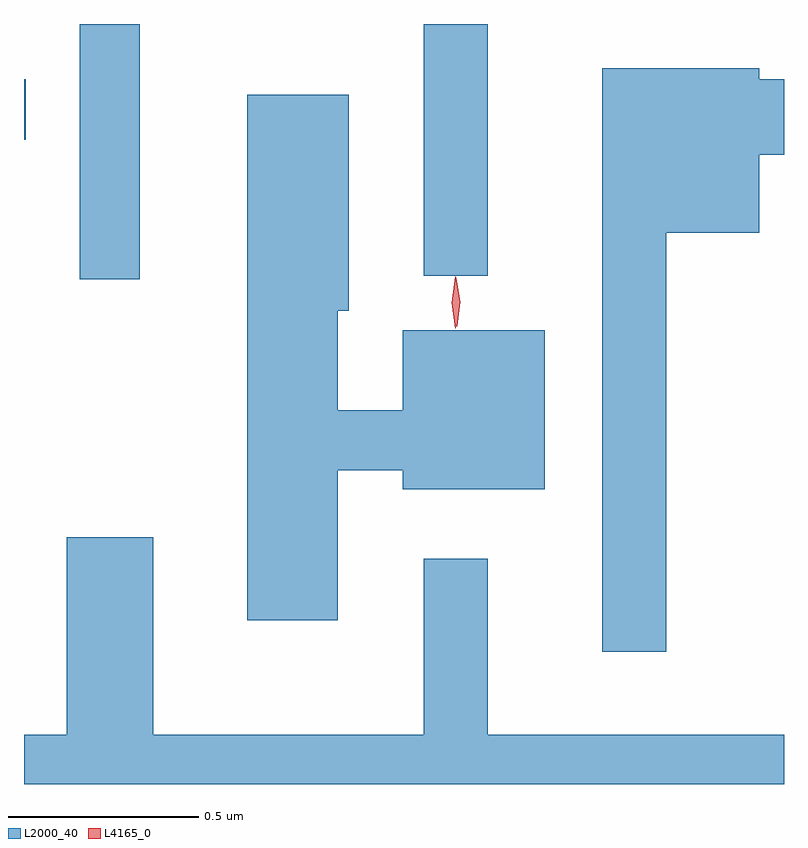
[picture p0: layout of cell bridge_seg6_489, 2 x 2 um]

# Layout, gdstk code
import gdstk
lib = gdstk.Library(unit=1e-6, precision=1e-09)
def R(c, l, rs):  # rectangles x0, y0, x1, y1
    for r in rs: c.add(gdstk.rectangle(r[:2], r[2:], *l))
def P(c, l, *ps):  # polygons
    for p in ps: c.add(gdstk.Polygon(p, *l))
L2000_40 = (2000, 40)
L4165_0 = (4165, 0)

bridge_seg6_489 = lib.new_cell('bridge_seg6_489')
R(bridge_seg6_489, L2000_40, [(671.766,1531.523,671.924,1532.195), (672.671,1531.533,672.839,1532.195), (671.619,1531.891,671.623,1532.049)])
P(bridge_seg6_489, L2000_40, [(673.309,1531.646),(673.554,1531.646),(673.554,1531.851),(673.619,1531.851),(673.619,1532.049),(673.554,1532.049),(673.554,1532.079),(673.141,1532.079),(673.141,1530.543),(673.309,1530.543)],
  [(672.444,1531.021),(672.616,1531.021),(672.616,1530.971),(672.989,1530.971),(672.989,1531.389),(672.616,1531.389),(672.616,1531.179),(672.444,1531.179),(672.444,1531.441),(672.474,1531.441),(672.474,1532.009),(672.206,1532.009),(672.206,1530.626),(672.444,1530.626)],
  [(673.619,1530.324),(672.839,1530.324),(672.839,1530.788),(672.671,1530.788),(672.671,1530.324),(671.959,1530.324),(671.959,1530.844),(671.731,1530.844),(671.731,1530.324),(671.619,1530.324),(671.619,1530.195),(673.619,1530.195)])
P(bridge_seg6_489, L4165_0, [(672.754,1531.394),(672.754,1531.394),(672.744,1531.462),(672.754,1531.53),(672.754,1531.53),(672.755,1531.53),(672.764,1531.462),(672.755,1531.394)],
  [(672.758,1531.399),(672.747,1531.463),(672.755,1531.527),(672.755,1531.527),(672.756,1531.527),(672.767,1531.464),(672.759,1531.399),(672.759,1531.399)])

lib.write_gds('bridge_seg6_489.gds')
